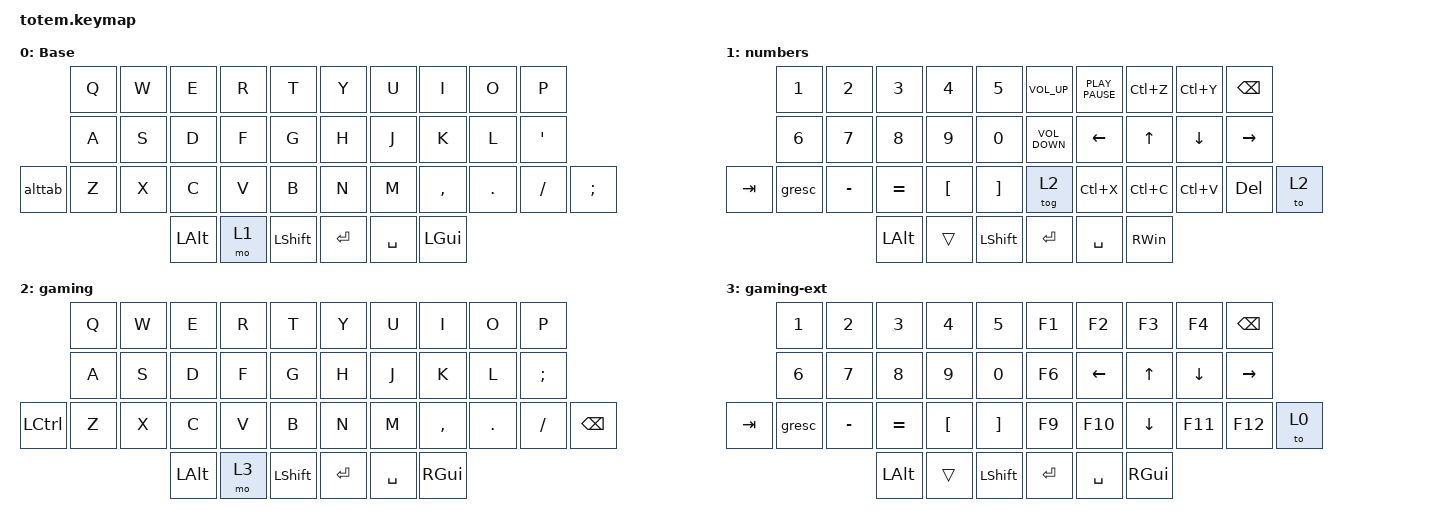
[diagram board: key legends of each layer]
//
//                                                        ▀▀▀▀▀     ▀▀▀▀▀          ▀▀█▀▀
//                                                        ▄▀▀▀▄  ▄  ▄▀▀▀▄  ▄  ▄▀▀▀▄  █  ▄▀▀▀▄
//                                                        █   █  █  █   █  █  █   █  █  █   █
//                                                         ▀▀▀   █   ▀▀▀   █   ▀▀▀   ▀   ▀▀▀
//                                                               █      ▄▄▄█▄▄▄    █   █  
//                                                               ▀      █  █  █     █▄█
//                                                             ▀▀▀▀▀    █  █  █      ▀
//                                                                      ▀  ▀  ▀
//
// ▄▄▄▄▄▄▄▄▄▄▄▄▄▄▄▄▄▄▄▄▄▄▄▄▄▄▄▄▄▄▄▄▄▄▄▄▄▄▄▄▄▄▄▄▄▄▄▄▄▄▄▄▄▄▄▄▄▄▄▄▄▄▄▄▄▄▄▄▄▄▄▄▄▄▄▄▄▄▄▄▄▄▄▄▄▄▄▄▄▄▄▄▄▄▄▄▄▄▄▄▄▄▄▄▄▄▄▄▄▄▄▄▄▄▄▄▄▄▄▄▄▄▄▄▄▄▄▄▄▄▄▄▄▄▄▄▄▄▄▄▄▄▄▄▄▄▄▄▄

#include <behaviors.dtsi>
#include <dt-bindings/zmk/keys.h>

#define Base        0
#define Button      2

&mt {
    quick-tap-ms = <100>;
    global-quick-tap;
    flavor = "tap-preferred";
    tapping-term-ms = <170>;
};

&lt {
    tapping-term-ms = <240>;
    flavor = "balanced";
    quick-tap-ms = <150>;
};

/ {
    behaviors {
        hm: homerow_mods {
            compatible = "zmk,behavior-hold-tap";
            label = "HOMEROW_MODS";
            #binding-cells = <2>;
            flavor = "tap-preferred";
            tapping-term-ms = <200>;
            quick-tap-ms = <125>;
            global-quick-tap;
            bindings = <&kp>, <&kp>;
        };

        alttab: alttab {
            compatible = "zmk,behavior-mod-morph";
            label = "ALTTAB";
            bindings = <&kp LEFT_CONTROL>, <&kp TAB>;

            #binding-cells = <0>;
            mods = <(MOD_LALT)>;
            keep-mods = <(MOD_LALT)>;
        };
    };

    combos { compatible = "zmk,combos"; };

    keymap {
        compatible = "zmk,keymap";

        typing {
            label = "Base";
            bindings = <
         &kp Q  &kp W  &kp E     &kp R  &kp T        &kp Y    &kp U      &kp I      &kp O    &kp P
         &kp A  &kp S  &kp D     &kp F  &kp G        &kp H    &kp J      &kp K      &kp L    &kp APOSTROPHE
&alttab  &kp Z  &kp X  &kp C     &kp V  &kp B        &kp N    &kp M      &kp COMMA  &kp DOT  &kp SLASH       &kp SEMICOLON
                       &kp LALT  &mo 1  &kp LSHFT    &kp RET  &kp SPACE  &kp LGUI
            >;
        };

        numbers {
            bindings = <
         &kp N1  &kp N2     &kp N3        &kp N4            &kp N5               &kp K_VOLUME_UP    &kp K_PLAY_PAUSE  &kp LC(Z)      &kp LC(Y)  &kp BACKSPACE
         &kp N6  &kp N7     &kp N8        &kp N9            &kp N0               &kp K_VOLUME_DOWN  &kp LEFT          &kp UP         &kp DOWN   &kp RIGHT
&kp TAB  &gresc  &kp MINUS  &kp EQUAL     &kp LEFT_BRACKET  &kp RIGHT_BRACKET    &tog 2             &kp LC(X)         &kp LC(C)      &kp LC(V)  &kp DELETE     &to 2
                            &kp LEFT_ALT  &trans            &kp LSHIFT           &kp ENTER          &kp SPACE         &kp RIGHT_WIN
            >;
        };

        gaming {
            bindings = <
           &kp Q  &kp W  &kp E     &kp R  &kp T             &kp Y      &kp U      &kp I      &kp O    &kp P
           &kp A  &kp S  &kp D     &kp F  &kp G             &kp H      &kp J      &kp K      &kp L    &kp SEMI
&kp LCTRL  &kp Z  &kp X  &kp C     &kp V  &kp B             &kp N      &kp M      &kp COMMA  &kp DOT  &kp FSLH  &kp BSPC
                         &kp LALT  &mo 3  &kp LEFT_SHIFT    &kp ENTER  &kp SPACE  &kp RGUI
            >;
        };

        gaming-ext {
            bindings = <
         &kp N1  &kp N2     &kp N3        &kp N4            &kp N5               &kp F1     &kp F2          &kp F3         &kp F4          &kp BACKSPACE
         &kp N6  &kp N7     &kp N8        &kp N9            &kp N0               &kp F6     &kp LEFT_ARROW  &kp UP         &kp DOWN_ARROW  &kp RIGHT
&kp TAB  &gresc  &kp MINUS  &kp EQUAL     &kp LEFT_BRACKET  &kp RIGHT_BRACKET    &kp F9     &kp F10         &kp DOWN       &kp F11         &kp F12        &to 0
                            &kp LEFT_ALT  &trans            &kp LEFT_SHIFT       &kp ENTER  &kp SPACE       &kp RIGHT_GUI
            >;
        };
    };
};
